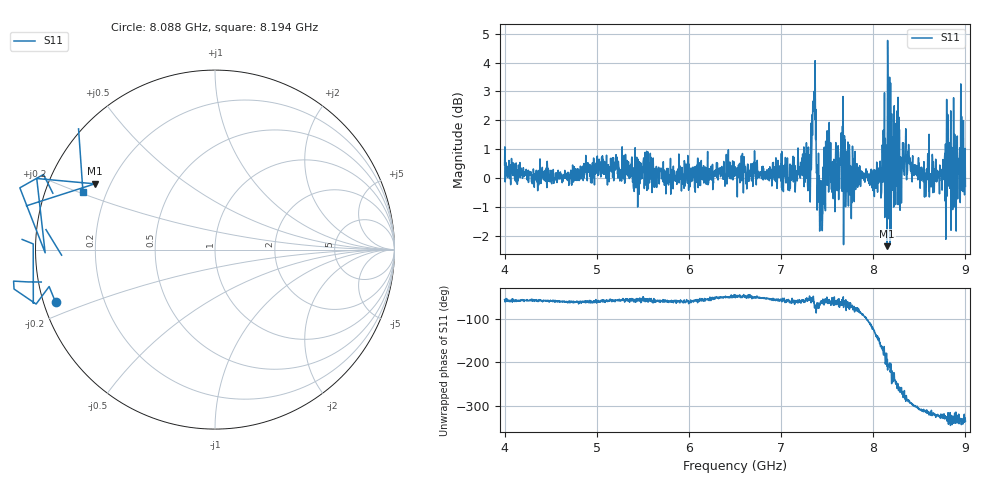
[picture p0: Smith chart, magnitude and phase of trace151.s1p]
! Created with skrf 1.8.0 (http://scikit-rf.org).
# Hz S RI R 50.0
!freq ReS11 ImS11
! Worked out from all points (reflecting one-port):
!   1601 points, 4 GHz to 9 GHz, reference 50 ohm
!   lowest |S11| = -2.3 dB at 8.15 GHz (marker M1), VSWR 7.44, Z = 7.15 + j12.5 ohm
!   phase of S11 starts at -56 deg and turns -279 deg over the sweep
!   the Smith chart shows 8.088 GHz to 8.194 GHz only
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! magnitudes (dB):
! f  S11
! 4 GHz  0.5
! 4.625 GHz  -0.2
! 5.25 GHz  -0.1
! 5.875 GHz  0.2
! 6.5 GHz  0.4
! 7.125 GHz  0.4
! 7.303 GHz  0.2
! 7.356 GHz  3.0
! 7.406 GHz  0.9
! 7.428 GHz  -0.2
! 7.509 GHz  -0.2
! 7.566 GHz  -0.7
! 7.669 GHz  0.6
! 7.703 GHz  -0.6
! 7.75 GHz  -0.1
! 8.066 GHz  -0.1
! 8.15 GHz  -2.3
! 8.156 GHz  4.8
! 8.178 GHz  3.5
! 8.209 GHz  -0.4
! 8.228 GHz  2.5
! 8.375 GHz  0.8
! 8.556 GHz  -0.7
! 8.766 GHz  0.0
! 8.816 GHz  0.3
! 8.875 GHz  0.6
! 8.953 GHz  -0.4
! 9 GHz  -0.3
